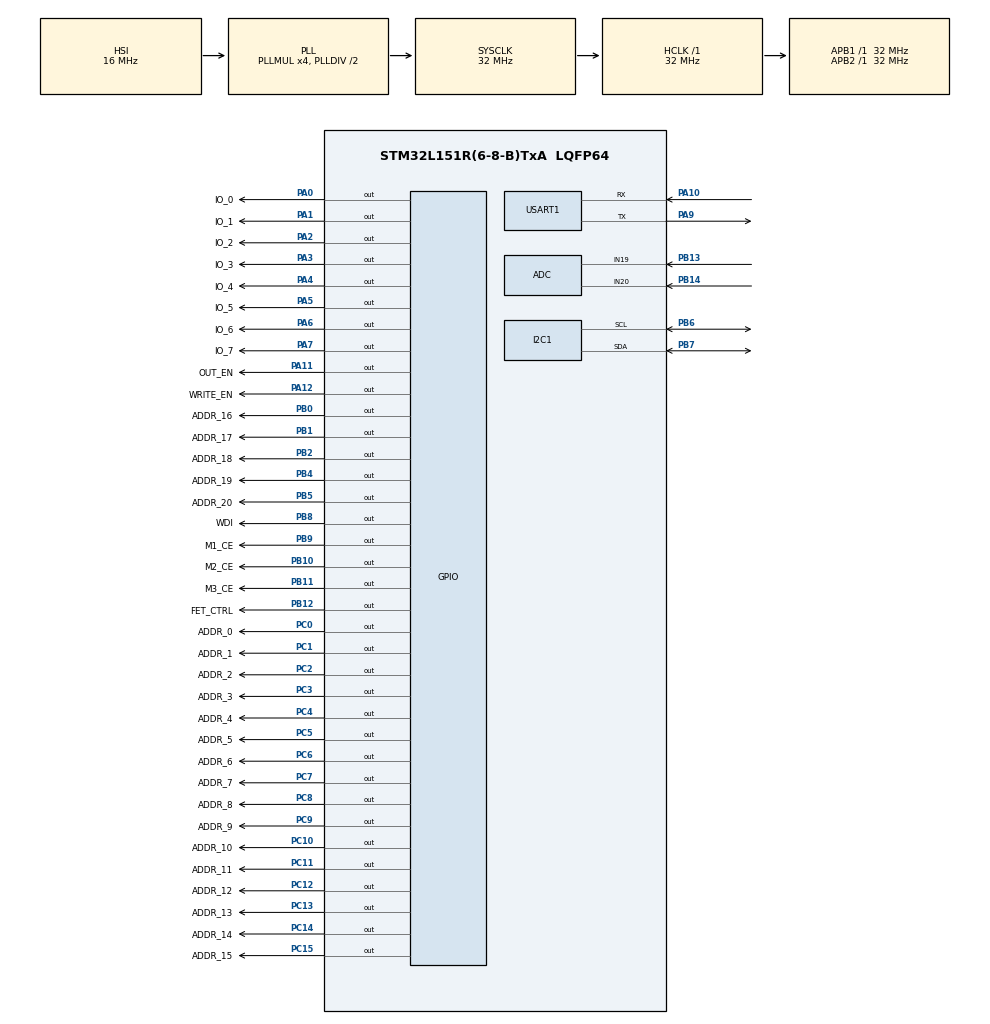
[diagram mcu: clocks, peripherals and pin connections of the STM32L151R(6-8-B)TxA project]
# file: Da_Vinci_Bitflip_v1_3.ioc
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ADC.Channel-0\#ChannelRegularConversion=ADC_CHANNEL_19
ADC.NbrOfConversionFlag=1
ADC.Rank-0\#ChannelRegularConversion=1
ADC.SamplingTime-0\#ChannelRegularConversion=ADC_SAMPLETIME_4CYCLES
I2C1.OwnAddress=0x64
Mcu.Family=STM32L1
Mcu.Name=STM32L151R(6-8-B)TxA
Mcu.Package=LQFP64
NVIC.I2C1_ER_IRQn=true\:0\:0\:false\:false\:true\:true\:true\:true
NVIC.I2C1_EV_IRQn=true\:0\:0\:false\:false\:true\:true\:true\:true
NVIC.PriorityGroup=NVIC_PRIORITYGROUP_4
NVIC.RTC_WKUP_IRQn=true\:0\:0\:false\:false\:true\:true\:true\:true
PA0-WKUP1.GPIO_Label=IO_0
PA0-WKUP1.GPIO_Speed=GPIO_SPEED_FREQ_VERY_HIGH
PA0-WKUP1.Signal=GPIO_Output
PA1.GPIO_Label=IO_1
PA1.GPIO_Speed=GPIO_SPEED_FREQ_VERY_HIGH
PA1.Signal=GPIO_Output
PA10.Mode=Asynchronous
PA10.Signal=USART1_RX
PA11.GPIO_Label=OUT_EN
PA11.GPIO_Speed=GPIO_SPEED_FREQ_VERY_HIGH
PA11.Signal=GPIO_Output
PA12.GPIO_Label=WRITE_EN
PA12.GPIO_Speed=GPIO_SPEED_FREQ_VERY_HIGH
PA12.Signal=GPIO_Output
PA13.Mode=JTAG_4_pins
PA13.Signal=SYS_JTMS-SWDIO
PA14.Mode=JTAG_4_pins
PA14.Signal=SYS_JTCK-SWCLK
PA15.Mode=JTAG_4_pins
PA15.Signal=SYS_JTDI
PA2.GPIO_Label=IO_2
PA2.GPIO_Speed=GPIO_SPEED_FREQ_VERY_HIGH
PA2.Signal=GPIO_Output
PA3.GPIO_Label=IO_3
PA3.GPIO_Speed=GPIO_SPEED_FREQ_VERY_HIGH
PA3.Signal=GPIO_Output
PA4.GPIO_Label=IO_4
PA4.GPIO_Speed=GPIO_SPEED_FREQ_VERY_HIGH
PA4.Signal=GPIO_Output
PA5.GPIO_Label=IO_5
PA5.GPIO_Speed=GPIO_SPEED_FREQ_VERY_HIGH
PA5.Signal=GPIO_Output
PA6.GPIO_Label=IO_6
PA6.GPIO_Speed=GPIO_SPEED_FREQ_VERY_HIGH
PA6.Signal=GPIO_Output
PA7.GPIO_Label=IO_7
PA7.GPIO_Speed=GPIO_SPEED_FREQ_VERY_HIGH
PA7.Signal=GPIO_Output
PA9.Mode=Asynchronous
PA9.Signal=USART1_TX
PB0.GPIO_Label=ADDR_16
PB0.GPIO_Speed=GPIO_SPEED_FREQ_VERY_HIGH
PB0.Signal=GPIO_Output
PB1.GPIO_Label=ADDR_17
PB1.GPIO_Speed=GPIO_SPEED_FREQ_VERY_HIGH
PB1.Signal=GPIO_Output
PB10.GPIO_Label=M2_CE
PB10.GPIO_Speed=GPIO_SPEED_FREQ_VERY_HIGH
PB10.Signal=GPIO_Output
PB11.GPIO_Label=M3_CE
PB11.GPIO_Speed=GPIO_SPEED_FREQ_VERY_HIGH
PB11.Signal=GPIO_Output
PB12.GPIO_Label=FET_CTRL
PB12.GPIO_Speed=GPIO_SPEED_FREQ_VERY_HIGH
PB12.Signal=GPIO_Output
PB13.Mode=IN19
PB13.Signal=ADC_IN19
PB14.Mode=IN20
PB14.Signal=ADC_IN20
PB2.GPIO_Label=ADDR_18
PB2.GPIO_Speed=GPIO_SPEED_FREQ_VERY_HIGH
PB2.Signal=GPIO_Output
PB3.Mode=JTAG_4_pins
PB3.Signal=SYS_JTDO-TRACESWO
PB4.GPIO_Label=ADDR_19
PB4.GPIO_Speed=GPIO_SPEED_FREQ_VERY_HIGH
PB4.Signal=GPIO_Output
PB5.GPIO_Label=ADDR_20
PB5.GPIO_Speed=GPIO_SPEED_FREQ_VERY_HIGH
PB5.Signal=GPIO_Output
PB6.GPIO_Pu=GPIO_PULLUP
PB6.Mode=I2C
PB6.Signal=I2C1_SCL
PB7.GPIO_Pu=GPIO_PULLUP
PB7.Mode=I2C
PB7.Signal=I2C1_SDA
PB8.GPIO_Label=WDI
PB8.GPIO_Speed=GPIO_SPEED_FREQ_MEDIUM
PB8.Signal=GPIO_Output
PB9.GPIO_Label=M1_CE
PB9.GPIO_Speed=GPIO_SPEED_FREQ_VERY_HIGH
PB9.Signal=GPIO_Output
PC0.GPIO_Label=ADDR_0
PC0.GPIO_Speed=GPIO_SPEED_FREQ_VERY_HIGH
PC0.Signal=GPIO_Output
PC1.GPIO_Label=ADDR_1
PC1.GPIO_Speed=GPIO_SPEED_FREQ_VERY_HIGH
PC1.Signal=GPIO_Output
PC10.GPIO_Label=ADDR_10
PC10.GPIO_Speed=GPIO_SPEED_FREQ_VERY_HIGH
PC10.Signal=GPIO_Output
PC11.GPIO_Label=ADDR_11
PC11.GPIO_Speed=GPIO_SPEED_FREQ_VERY_HIGH
PC11.Signal=GPIO_Output
PC12.GPIO_Label=ADDR_12
PC12.GPIO_Speed=GPIO_SPEED_FREQ_VERY_HIGH
PC12.Signal=GPIO_Output
PC13-WKUP2.GPIO_Label=ADDR_13
PC13-WKUP2.GPIO_Speed=GPIO_SPEED_FREQ_VERY_HIGH
PC13-WKUP2.Signal=GPIO_Output
PC14-OSC32_IN.GPIO_Label=ADDR_14
PC14-OSC32_IN.GPIO_Speed=GPIO_SPEED_FREQ_VERY_HIGH
PC14-OSC32_IN.Signal=GPIO_Output
PC15-OSC32_OUT.GPIO_Label=ADDR_15
PC15-OSC32_OUT.GPIO_Speed=GPIO_SPEED_FREQ_VERY_HIGH
PC15-OSC32_OUT.Signal=GPIO_Output
PC2.GPIO_Label=ADDR_2
PC2.GPIO_Speed=GPIO_SPEED_FREQ_VERY_HIGH
PC2.Signal=GPIO_Output
PC3.GPIO_Label=ADDR_3
PC3.GPIO_Speed=GPIO_SPEED_FREQ_VERY_HIGH
PC3.Signal=GPIO_Output
PC4.GPIO_Label=ADDR_4
PC4.GPIO_Speed=GPIO_SPEED_FREQ_VERY_HIGH
PC4.Signal=GPIO_Output
PC5.GPIO_Label=ADDR_5
PC5.GPIO_Speed=GPIO_SPEED_FREQ_VERY_HIGH
PC5.Signal=GPIO_Output
PC6.GPIO_Label=ADDR_6
PC6.GPIO_Speed=GPIO_SPEED_FREQ_VERY_HIGH
PC6.Signal=GPIO_Output
PC7.GPIO_Label=ADDR_7
PC7.GPIO_Speed=GPIO_SPEED_FREQ_VERY_HIGH
PC7.Signal=GPIO_Output
PC8.GPIO_Label=ADDR_8
PC8.GPIO_Speed=GPIO_SPEED_FREQ_VERY_HIGH
PC8.Signal=GPIO_Output
PC9.GPIO_Label=ADDR_9
PC9.GPIO_Speed=GPIO_SPEED_FREQ_VERY_HIGH
PC9.Signal=GPIO_Output
ProjectManager.HeapSize=0x200
ProjectManager.StackSize=0x400
ProjectManager.TargetToolchain=STM32CubeIDE
RCC.48MHZClocksFreq_Value=32000000
RCC.AHBFreq_Value=32000000
RCC.APB1Freq_Value=32000000
RCC.APB1TimFreq_Value=32000000
RCC.APB2Freq_Value=32000000
RCC.APB2TimFreq_Value=32000000
RCC.HCLKFreq_Value=32000000
RCC.HSE_VALUE=24000000
RCC.HSI_VALUE=16000000
RCC.LSE_VALUE=32768
RCC.MSI_VALUE=2097000
RCC.PLLMUL=RCC_PLL_MUL4
RCC.SYSCLKFreq_VALUE=32000000
RCC.SYSCLKSource=RCC_SYSCLKSOURCE_PLLCLK
RCC.VCOOutputFreq_Value=64000000
RTC.WakeUpCounter-WakeUp=4625
TIM10.Prescaler=15
USART1.VirtualMode=VM_ASYNC
VP_RTC_VS_RTC_Activate.Mode=RTC_Enabled
VP_RTC_VS_RTC_WakeUp_intern.Mode=WakeUp
VP_TIM10_VS_ClockSourceINT.Mode=Internal
board=custom

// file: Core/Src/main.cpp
/* USER CODE BEGIN Header */
/**
 ******************************************************************************
 * @file           : main.c
 * @brief          : Main program body
 ******************************************************************************
 * @attention
 *
 * <h2><center>&copy; Copyright (c) 2022 STMicroelectronics.
 * All rights reserved.</center></h2>
 *
 * This software component is licensed by ST under BSD 3-Clause license,
 * the "License"; You may not use this file except in compliance with the
 * License. You may obtain a copy of the License at:
 *                        opensource.org/licenses/BSD-3-Clause
 *
 ******************************************************************************
 */
/* USER CODE END Header */
#include "main.h"

/* USER CODE BEGIN Includes */
#include "memory_control.h"
#include "stdio.h"

/* USER CODE END Includes */

/* USER CODE BEGIN PD */
#define PRINT_DEBUG 1	// Whether to add UART logging => increases power consumption

/* USER CODE END PD */

ADC_HandleTypeDef hadc;

I2C_HandleTypeDef hi2c1;

RTC_HandleTypeDef hrtc;

TIM_HandleTypeDef htim10;

UART_HandleTypeDef huart1;

void SystemClock_Config(void);
static void MX_GPIO_Init(void);
static void MX_TIM10_Init(void);
static void MX_RTC_Init(void);
static void MX_I2C1_Init(void);
static void MX_ADC_Init(void);
static void MX_USART1_UART_Init(void);

/* USER CODE BEGIN 0 */

void stop_for_ms(uint32_t stop_time) {
	/* Enter STOP mode for stop_time milliseconds */
	HAL_SuspendTick();	// Stop SysTick from waking up device

	HAL_RTCEx_SetWakeUpTimer_IT(&hrtc, (37 / 16) * stop_time,
			RTC_WAKEUPCLOCK_RTCCLK_DIV16);	// Start Wake-Up Timer stop_time ms

	HAL_PWR_EnterSTOPMode(PWR_LOWPOWERREGULATOR_ON, PWR_STOPENTRY_WFI); // Enter Stop Mode

	// Resumes here once woken
	HAL_RTCEx_DeactivateWakeUpTimer(&hrtc); // Disable Wake-Up Timer
	SystemClock_Config();
	HAL_ResumeTick(); // Resume SysTick
}

void standby_for_ms(uint32_t standby_time) {
	/* Enter STANDBY mode for standby_time milliseconds. The program will restart when awoken. */

	__HAL_PWR_CLEAR_FLAG(PWR_FLAG_WU);	// Clear the WU FLAG
	__HAL_RTC_WAKEUPTIMER_CLEAR_FLAG(&hrtc, RTC_FLAG_WUTF);	// Clear the RTC Wake UP (WU) flag

	HAL_PWR_EnableWakeUpPin(PWR_WAKEUP_PIN1);	// Enable the WAKEUP PIN
	/* Enable the RTC Wakeup */
	/*  RTC Wake-up Interrupt Generation:
	 Wake-up Time Base = (RTC_WAKEUPCLOCK_RTCCLK_DIV /(LSI))
	 ==> WakeUpCounter = Wake-up Time / Wake-up Time Base

	 To configure the wake up timer to 5s the WakeUpCounter is set to 0x2710:
	 RTC_WAKEUPCLOCK_RTCCLK_DIV = RTCCLK_Div16 = 16
	 Wake-up Time Base = 16 /(32KHz) = 0.0005 seconds
	 ==> WakeUpCounter = ~5s/0.0005s = 10000 = 0x2710
	 */
	if (HAL_RTCEx_SetWakeUpTimer_IT(&hrtc, standby_time * 2.401,
			RTC_WAKEUPCLOCK_RTCCLK_DIV16) != HAL_OK) {
		Error_Handler();
	}

	HAL_PWR_EnterSTANDBYMode();
}

/* USER CODE END 0 */

int main(void) {

	/* MCU Configuration--------------------------------------------------------*/

	/* Reset of all peripherals, Initializes the Flash interface and the Systick. */
	HAL_Init();

	/* Configure the system clock */
	SystemClock_Config();

	/* Initialize all configured peripherals */
	MX_GPIO_Init();
	MX_TIM10_Init();
	MX_RTC_Init();
	MX_I2C1_Init();
	MX_ADC_Init();
	MX_USART1_UART_Init();
	/* USER CODE BEGIN 2 */

	HAL_TIM_Base_Start(&htim10); // Start TIM10 for microsecond delay function

	MemoryController mem(M2_CE_GPIO_Port, M2_CE_Pin);

	HAL_GPIO_WritePin(FET_CTRL_GPIO_Port, FET_CTRL_Pin, GPIO_PIN_RESET); // Control Latch up FET
	HAL_GPIO_WritePin(M1_CE_GPIO_Port, M1_CE_Pin | M2_CE_Pin | M3_CE_Pin,
			GPIO_PIN_SET); // Disable All Memory

	if (HAL_I2C_EnableListen_IT(&hi2c1) != HAL_OK) {
		Error_Handler();
	}

	/* USER CODE END 2 */

	/* Infinite loop */
	/* USER CODE BEGIN WHILE */

//  uint8_t reading;
//  #if PRINT_DEBUG
//  	  char print_buffer[8+2];
//  #endif
//
//  const uint32_t stop_time = 2000;	// Time to STOP for in ms
//  mem.clear();
//  mem.write(9999, 26);
	while (1) {
		/* USER CODE END WHILE */

		/* USER CODE BEGIN 3 */

		switch (I2C_REGISTERS[0]) {
		case 0x02: {
			mem.set_CE(M1_CE_GPIO_Port, M1_CE_Pin);
			uint32_t wrong_count = mem.check_for(I2C_REGISTERS[1]);
			mem.disable();

			I2C_REGISTERS[2] = (wrong_count & 0x000000ff);
			I2C_REGISTERS[3] = (wrong_count & 0x0000ff00) >> 8;
			I2C_REGISTERS[4] = (wrong_count & 0x00ff0000) >> 16;
			I2C_REGISTERS[5] = (wrong_count & 0xff000000) >> 24;

			I2C_REGISTERS[0] = 0x03;
			break;
		}
		case 0x04: {
			mem.set_CE(M2_CE_GPIO_Port, M2_CE_Pin);
			uint32_t wrong_count = mem.check_for(I2C_REGISTERS[1]);
			mem.disable();

			I2C_REGISTERS[6] = (wrong_count & 0x000000ff);
			I2C_REGISTERS[7] = (wrong_count & 0x0000ff00) >> 8;
			I2C_REGISTERS[8] = (wrong_count & 0x00ff0000) >> 16;
			I2C_REGISTERS[9] = (wrong_count & 0xff000000) >> 24;

			I2C_REGISTERS[0] = 0x05;
			break;
		}
		case 0x08: {
			mem.set_CE(M3_CE_GPIO_Port, M3_CE_Pin);
			uint32_t wrong_count = mem.check_for(I2C_REGISTERS[1]);
			mem.disable();

			I2C_REGISTERS[10] = (wrong_count & 0x000000ff);
			I2C_REGISTERS[11] = (wrong_count & 0x0000ff00) >> 8;
			I2C_REGISTERS[12] = (wrong_count & 0x00ff0000) >> 16;
			I2C_REGISTERS[13] = (wrong_count & 0xff000000) >> 24;

			I2C_REGISTERS[0] = 0x09;
			break;
		}
		case 0x10: {
			mem.set_CE(M1_CE_GPIO_Port, M1_CE_Pin);
			mem.flood(I2C_REGISTERS[1]);
			mem.disable();
			I2C_REGISTERS[0] = 0x11;
			break;
		}
		case 0x20: {
			mem.set_CE(M2_CE_GPIO_Port, M2_CE_Pin);
			mem.flood(I2C_REGISTERS[1]);
			mem.disable();
			I2C_REGISTERS[0] = 0x21;
			break;
		}
		case 0x40: {
			mem.set_CE(M3_CE_GPIO_Port, M3_CE_Pin);
			mem.flood(I2C_REGISTERS[1]);
			mem.disable();
			I2C_REGISTERS[0] = 0x41;
			break;
		}

		case 0x80: {
			mem.set_CE(M1_CE_GPIO_Port, M1_CE_Pin);
			mem.flood(I2C_REGISTERS[1]);
			mem.disable();
			I2C_REGISTERS[0] = 0x81;

			mem.set_CE(M2_CE_GPIO_Port, M2_CE_Pin);
			mem.flood(I2C_REGISTERS[1]);
			mem.disable();
			I2C_REGISTERS[0] = 0x82;

			mem.set_CE(M3_CE_GPIO_Port, M3_CE_Pin);
			mem.flood(I2C_REGISTERS[1]);
			mem.disable();
			I2C_REGISTERS[0] = 0x83;
			break;
		}
		default:
			break;

		}
//	  I2C_REGISTERS[0] = 0x00;

//	  if (I2C_REGISTERS[0] == 0x02) {
//		    mem.write(400, 1);
//
//		  // do something
//	  }
//	for(int a=0; a<128; a++) {
//		int addr = a*16384 + 10;
//		mem.write(addr, a);
//	}
//
//	for(int a=0; a<128; a++) {
//		int addr = a*16384 + 10;
//		reading = mem.read(addr);
//		#if PRINT_DEBUG
//			sprintf(print_buffer, "%08d\n", reading);
//			HAL_UART_Transmit(&huart1, (uint8_t*) print_buffer, sizeof(print_buffer), 10);
//		#endif
//	}
//
////	mem.flood(0);
////	reading = mem.read((1*65536));
////	uint32_t wrong_count = mem.check_for(0);
//
//	#if PRINT_DEBUG
//		sprintf(print_buffer, "%08d\n", reading);
//		HAL_UART_Transmit(&huart1, (uint8_t*) print_buffer, sizeof(print_buffer), 10);
//	#endif

//	HAL_GPIO_TogglePin(WDI_GPIO_Port, WDI_Pin);	// Toggle to feed external watch-dog. Needs to be fed at latest every 4.5 seconds
//	HAL_GPIO_TogglePin(FET_CTRL_GPIO_Port, FET_CTRL_Pin);

		// Enter STOP mode for stop_time seconds
//	stop_for_ms(stop_time);

	}
	/* USER CODE END 3 */
}

void SystemClock_Config(void) {
	RCC_OscInitTypeDef RCC_OscInitStruct = { 0 };
	RCC_ClkInitTypeDef RCC_ClkInitStruct = { 0 };
	RCC_PeriphCLKInitTypeDef PeriphClkInit = { 0 };

	/** Configure the main internal regulator output voltage
	 */
	__HAL_PWR_VOLTAGESCALING_CONFIG(PWR_REGULATOR_VOLTAGE_SCALE1);

	/** Initializes the RCC Oscillators according to the specified parameters
	 * in the RCC_OscInitTypeDef structure.
	 */
	RCC_OscInitStruct.OscillatorType = RCC_OSCILLATORTYPE_HSI
			| RCC_OSCILLATORTYPE_LSI;
	RCC_OscInitStruct.HSIState = RCC_HSI_ON;
	RCC_OscInitStruct.HSICalibrationValue = RCC_HSICALIBRATION_DEFAULT;
	RCC_OscInitStruct.LSIState = RCC_LSI_ON;
	RCC_OscInitStruct.PLL.PLLState = RCC_PLL_ON;
	RCC_OscInitStruct.PLL.PLLSource = RCC_PLLSOURCE_HSI;
	RCC_OscInitStruct.PLL.PLLMUL = RCC_PLL_MUL4;
	RCC_OscInitStruct.PLL.PLLDIV = RCC_PLL_DIV2;
	if (HAL_RCC_OscConfig(&RCC_OscInitStruct) != HAL_OK) {
		Error_Handler();
	}

	/** Initializes the CPU, AHB and APB buses clocks
	 */
	RCC_ClkInitStruct.ClockType = RCC_CLOCKTYPE_HCLK | RCC_CLOCKTYPE_SYSCLK
			| RCC_CLOCKTYPE_PCLK1 | RCC_CLOCKTYPE_PCLK2;
	RCC_ClkInitStruct.SYSCLKSource = RCC_SYSCLKSOURCE_PLLCLK;
	RCC_ClkInitStruct.AHBCLKDivider = RCC_SYSCLK_DIV1;
	RCC_ClkInitStruct.APB1CLKDivider = RCC_HCLK_DIV1;
	RCC_ClkInitStruct.APB2CLKDivider = RCC_HCLK_DIV1;

	if (HAL_RCC_ClockConfig(&RCC_ClkInitStruct, FLASH_LATENCY_1) != HAL_OK) {
		Error_Handler();
	}
	PeriphClkInit.PeriphClockSelection = RCC_PERIPHCLK_RTC;
	PeriphClkInit.RTCClockSelection = RCC_RTCCLKSOURCE_LSI;
	if (HAL_RCCEx_PeriphCLKConfig(&PeriphClkInit) != HAL_OK) {
		Error_Handler();
	}
}

static void MX_ADC_Init(void) {

	ADC_ChannelConfTypeDef sConfig = { 0 };

	/** Configure the global features of the ADC (Clock, Resolution, Data Alignment and number of conversion)
	 */
	hadc.Instance = ADC1;
	hadc.Init.ClockPrescaler = ADC_CLOCK_ASYNC_DIV1;
	hadc.Init.Resolution = ADC_RESOLUTION_12B;
	hadc.Init.DataAlign = ADC_DATAALIGN_RIGHT;
	hadc.Init.ScanConvMode = ADC_SCAN_DISABLE;
	hadc.Init.EOCSelection = ADC_EOC_SEQ_CONV;
	hadc.Init.LowPowerAutoWait = ADC_AUTOWAIT_DISABLE;
	hadc.Init.LowPowerAutoPowerOff = ADC_AUTOPOWEROFF_DISABLE;
	hadc.Init.ChannelsBank = ADC_CHANNELS_BANK_A;
	hadc.Init.ContinuousConvMode = DISABLE;
	hadc.Init.NbrOfConversion = 1;
	hadc.Init.DiscontinuousConvMode = DISABLE;
	hadc.Init.ExternalTrigConv = ADC_SOFTWARE_START;
	hadc.Init.ExternalTrigConvEdge = ADC_EXTERNALTRIGCONVEDGE_NONE;
	hadc.Init.DMAContinuousRequests = DISABLE;
	if (HAL_ADC_Init(&hadc) != HAL_OK) {
		Error_Handler();
	}

	/** Configure for the selected ADC regular channel its corresponding rank in the sequencer and its sample time.
	 */
	sConfig.Channel = ADC_CHANNEL_19;
	sConfig.Rank = ADC_REGULAR_RANK_1;
	sConfig.SamplingTime = ADC_SAMPLETIME_4CYCLES;
	if (HAL_ADC_ConfigChannel(&hadc, &sConfig) != HAL_OK) {
		Error_Handler();
	}

}

static void MX_I2C1_Init(void) {

	hi2c1.Instance = I2C1;
	hi2c1.Init.ClockSpeed = 100000;
	hi2c1.Init.DutyCycle = I2C_DUTYCYCLE_2;
	hi2c1.Init.OwnAddress1 = 200;
	hi2c1.Init.AddressingMode = I2C_ADDRESSINGMODE_7BIT;
	hi2c1.Init.DualAddressMode = I2C_DUALADDRESS_DISABLE;
	hi2c1.Init.OwnAddress2 = 0;
	hi2c1.Init.GeneralCallMode = I2C_GENERALCALL_DISABLE;
	hi2c1.Init.NoStretchMode = I2C_NOSTRETCH_DISABLE;
	if (HAL_I2C_Init(&hi2c1) != HAL_OK) {
		Error_Handler();
	}

}

static void MX_RTC_Init(void) {

	RTC_TimeTypeDef sTime = { 0 };
	RTC_DateTypeDef sDate = { 0 };

	/** Initialize RTC Only
	 */
	hrtc.Instance = RTC;
	hrtc.Init.HourFormat = RTC_HOURFORMAT_24;
	hrtc.Init.AsynchPrediv = 127;
	hrtc.Init.SynchPrediv = 255;
	hrtc.Init.OutPut = RTC_OUTPUT_DISABLE;
	hrtc.Init.OutPutPolarity = RTC_OUTPUT_POLARITY_HIGH;
	hrtc.Init.OutPutType = RTC_OUTPUT_TYPE_OPENDRAIN;
	if (HAL_RTC_Init(&hrtc) != HAL_OK) {
		Error_Handler();
	}

	/** Initialize RTC and set the Time and Date
	 */
	sTime.Hours = 0x0;
	sTime.Minutes = 0x0;
	sTime.Seconds = 0x0;
	sTime.DayLightSaving = RTC_DAYLIGHTSAVING_NONE;
	sTime.StoreOperation = RTC_STOREOPERATION_RESET;
	if (HAL_RTC_SetTime(&hrtc, &sTime, RTC_FORMAT_BCD) != HAL_OK) {
		Error_Handler();
	}
	sDate.WeekDay = RTC_WEEKDAY_MONDAY;
	sDate.Month = RTC_MONTH_JANUARY;
	sDate.Date = 0x1;
	sDate.Year = 0x0;

	if (HAL_RTC_SetDate(&hrtc, &sDate, RTC_FORMAT_BCD) != HAL_OK) {
		Error_Handler();
	}

	/** Enable the WakeUp
	 */
	if (HAL_RTCEx_SetWakeUpTimer_IT(&hrtc, 4625, RTC_WAKEUPCLOCK_RTCCLK_DIV16)
			!= HAL_OK) {
		Error_Handler();
	}

}

static void MX_TIM10_Init(void) {

	TIM_ClockConfigTypeDef sClockSourceConfig = { 0 };

	htim10.Instance = TIM10;
	htim10.Init.Prescaler = 15;
	htim10.Init.CounterMode = TIM_COUNTERMODE_UP;
	htim10.Init.Period = 65535;
	htim10.Init.ClockDivision = TIM_CLOCKDIVISION_DIV1;
	htim10.Init.AutoReloadPreload = TIM_AUTORELOAD_PRELOAD_DISABLE;
	if (HAL_TIM_Base_Init(&htim10) != HAL_OK) {
		Error_Handler();
	}
	sClockSourceConfig.ClockSource = TIM_CLOCKSOURCE_INTERNAL;
	if (HAL_TIM_ConfigClockSource(&htim10, &sClockSourceConfig) != HAL_OK) {
		Error_Handler();
	}

}

static void MX_USART1_UART_Init(void) {

	huart1.Instance = USART1;
	huart1.Init.BaudRate = 115200;
	huart1.Init.WordLength = UART_WORDLENGTH_8B;
	huart1.Init.StopBits = UART_STOPBITS_1;
	huart1.Init.Parity = UART_PARITY_NONE;
	huart1.Init.Mode = UART_MODE_TX_RX;
	huart1.Init.HwFlowCtl = UART_HWCONTROL_NONE;
	huart1.Init.OverSampling = UART_OVERSAMPLING_16;
	if (HAL_UART_Init(&huart1) != HAL_OK) {
		Error_Handler();
	}

}

static void MX_GPIO_Init(void) {
	GPIO_InitTypeDef GPIO_InitStruct = { 0 };

	/* GPIO Ports Clock Enable */
	__HAL_RCC_GPIOC_CLK_ENABLE();
	__HAL_RCC_GPIOA_CLK_ENABLE();
	__HAL_RCC_GPIOB_CLK_ENABLE();

	/*Configure GPIO pin Output Level */
	HAL_GPIO_WritePin(GPIOC,
			ADDR_13_Pin | ADDR_14_Pin | ADDR_15_Pin | ADDR_0_Pin | ADDR_1_Pin
					| ADDR_2_Pin | ADDR_3_Pin | ADDR_4_Pin | ADDR_5_Pin
					| ADDR_6_Pin | ADDR_7_Pin | ADDR_8_Pin | ADDR_9_Pin
					| ADDR_10_Pin | ADDR_11_Pin | ADDR_12_Pin, GPIO_PIN_RESET);

	/*Configure GPIO pin Output Level */
	HAL_GPIO_WritePin(GPIOA,
			IO_0_Pin | IO_1_Pin | IO_2_Pin | IO_3_Pin | IO_4_Pin | IO_5_Pin
					| IO_6_Pin | IO_7_Pin | OUT_EN_Pin | WRITE_EN_Pin,
			GPIO_PIN_RESET);

	/*Configure GPIO pin Output Level */
	HAL_GPIO_WritePin(GPIOB,
			ADDR_16_Pin | ADDR_17_Pin | ADDR_18_Pin | M2_CE_Pin | M3_CE_Pin
					| FET_CTRL_Pin | ADDR_19_Pin | ADDR_20_Pin | WDI_Pin
					| M1_CE_Pin, GPIO_PIN_RESET);

	/*Configure GPIO pins : ADDR_13_Pin ADDR_14_Pin ADDR_15_Pin ADDR_0_Pin
	 ADDR_1_Pin ADDR_2_Pin ADDR_3_Pin ADDR_4_Pin
	 ADDR_5_Pin ADDR_6_Pin ADDR_7_Pin ADDR_8_Pin
	 ADDR_9_Pin ADDR_10_Pin ADDR_11_Pin ADDR_12_Pin */
	GPIO_InitStruct.Pin = ADDR_13_Pin | ADDR_14_Pin | ADDR_15_Pin | ADDR_0_Pin
			| ADDR_1_Pin | ADDR_2_Pin | ADDR_3_Pin | ADDR_4_Pin | ADDR_5_Pin
			| ADDR_6_Pin | ADDR_7_Pin | ADDR_8_Pin | ADDR_9_Pin | ADDR_10_Pin
			| ADDR_11_Pin | ADDR_12_Pin;
	GPIO_InitStruct.Mode = GPIO_MODE_OUTPUT_PP;
	GPIO_InitStruct.Pull = GPIO_NOPULL;
	GPIO_InitStruct.Speed = GPIO_SPEED_FREQ_VERY_HIGH;
	HAL_GPIO_Init(GPIOC, &GPIO_InitStruct);

	/*Configure GPIO pins : IO_0_Pin IO_1_Pin IO_2_Pin IO_3_Pin
	 IO_4_Pin IO_5_Pin IO_6_Pin IO_7_Pin
	 OUT_EN_Pin WRITE_EN_Pin */
	GPIO_InitStruct.Pin = IO_0_Pin | IO_1_Pin | IO_2_Pin | IO_3_Pin | IO_4_Pin
			| IO_5_Pin | IO_6_Pin | IO_7_Pin | OUT_EN_Pin | WRITE_EN_Pin;
	GPIO_InitStruct.Mode = GPIO_MODE_OUTPUT_PP;
	GPIO_InitStruct.Pull = GPIO_NOPULL;
	GPIO_InitStruct.Speed = GPIO_SPEED_FREQ_VERY_HIGH;
	HAL_GPIO_Init(GPIOA, &GPIO_InitStruct);

	/*Configure GPIO pins : ADDR_16_Pin ADDR_17_Pin ADDR_18_Pin M2_CE_Pin
	 M3_CE_Pin FET_CTRL_Pin ADDR_19_Pin ADDR_20_Pin
	 M1_CE_Pin */
	GPIO_InitStruct.Pin = ADDR_16_Pin | ADDR_17_Pin | ADDR_18_Pin | M2_CE_Pin
			| M3_CE_Pin | FET_CTRL_Pin | ADDR_19_Pin | ADDR_20_Pin | M1_CE_Pin;
	GPIO_InitStruct.Mode = GPIO_MODE_OUTPUT_PP;
	GPIO_InitStruct.Pull = GPIO_NOPULL;
	GPIO_InitStruct.Speed = GPIO_SPEED_FREQ_VERY_HIGH;
	HAL_GPIO_Init(GPIOB, &GPIO_InitStruct);

	/*Configure GPIO pin : WDI_Pin */
	GPIO_InitStruct.Pin = WDI_Pin;
	GPIO_InitStruct.Mode = GPIO_MODE_OUTPUT_PP;
	GPIO_InitStruct.Pull = GPIO_NOPULL;
	GPIO_InitStruct.Speed = GPIO_SPEED_FREQ_MEDIUM;
	HAL_GPIO_Init(WDI_GPIO_Port, &GPIO_InitStruct);

}

void Error_Handler(void) {
	__disable_irq();
	while (1) {
	}
}
